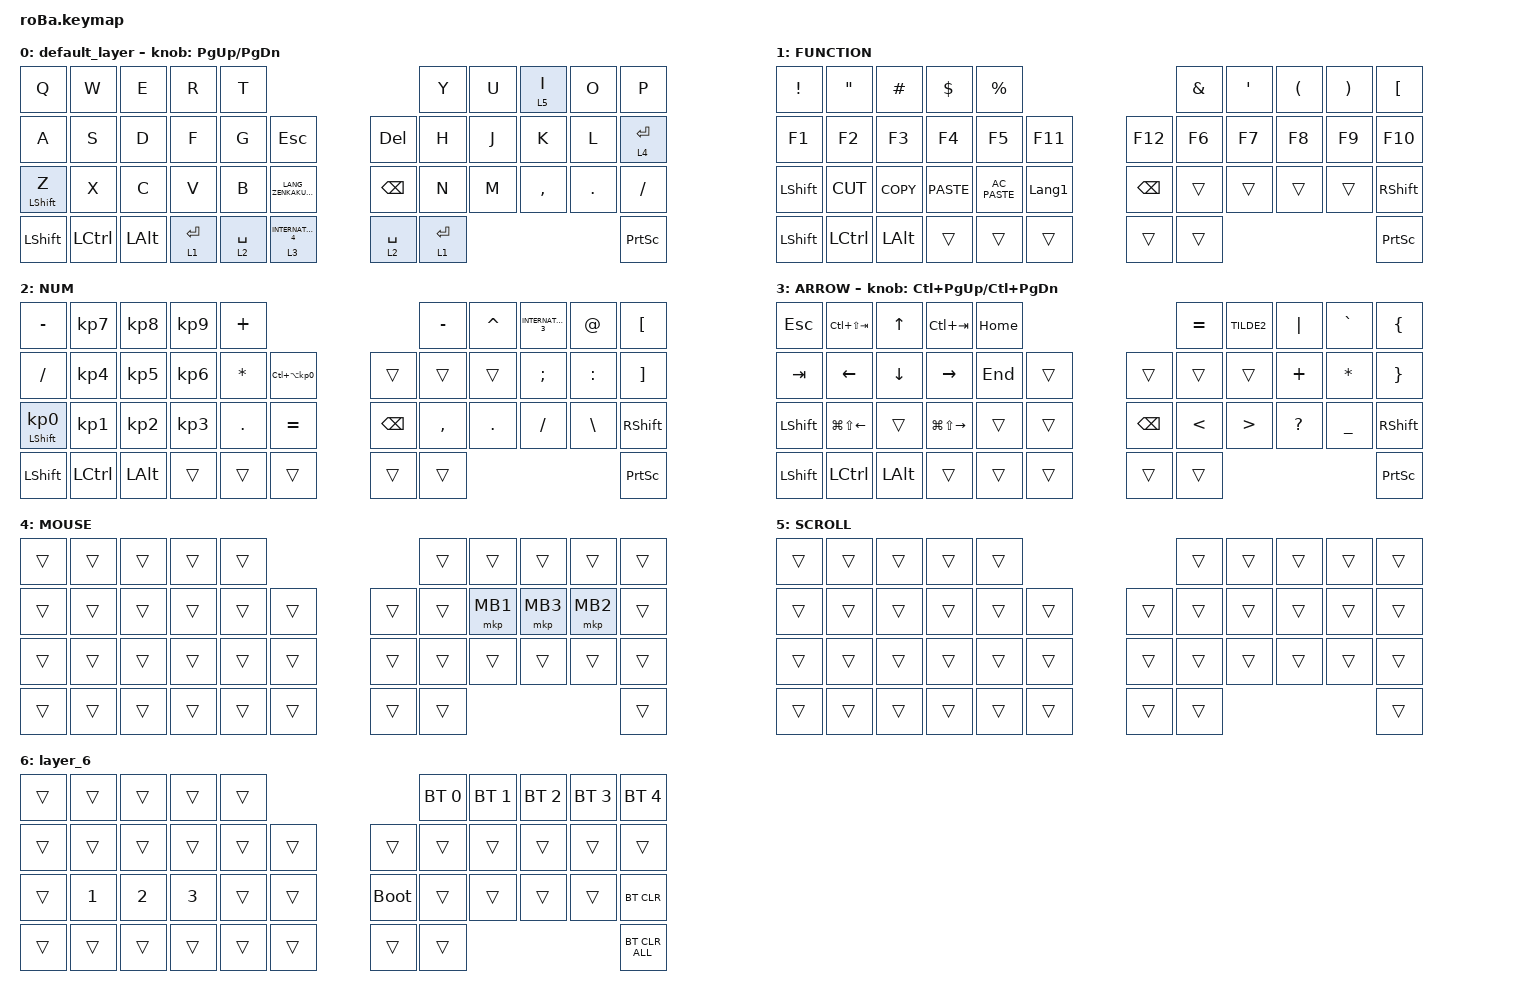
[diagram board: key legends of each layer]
#include <behaviors.dtsi>
#include <dt-bindings/zmk/bt.h>
#include <dt-bindings/zmk/keys.h>
#include <dt-bindings/zmk/pointing.h>

#define MOUSE 4
#define SCROLL 5
#define NUM 6

&mt {
    flavor = "balanced";
    quick-tap-ms = <0>;
};

/ {
    combos {
        compatible = "zmk,combos";

        tab {
            bindings = <&kp TAB>;
            key-positions = <11 12>;
        };

        shift_tab {
            bindings = <&kp LS(TAB)>;
            key-positions = <12 13>;
        };

        muhennkann {
            bindings = <&to_layer_0 INT_MUHENKAN>;
            key-positions = <11 10>;
        };

        double_quotation {
            bindings = <&kp DOUBLE_QUOTES>;
            key-positions = <20 21>;
        };

        eq {
            bindings = <&kp EQUAL>;
            key-positions = <24 25>;
        };
    };

    macros {
        to_layer_0: to_layer_0 {
            compatible = "zmk,behavior-macro-one-param";
            #binding-cells = <1>;
            bindings = <&to 0 &macro_param_1to1 &kp MACRO_PLACEHOLDER>;
            label = "TO_LAYER_0";
        };
    };

    behaviors {
        lt_to_layer_0: lt_to_layer_0 {
            compatible = "zmk,behavior-hold-tap";
            label = "LAYER_TAP_TO_0";
            bindings = <&mo>, <&to_layer_0>;

            #binding-cells = <2>;
            tapping-term-ms = <200>;
        };
    };

    keymap {
        compatible = "zmk,keymap";

        default_layer {
            bindings = <
&kp Q             &kp W      &kp E         &kp R                   &kp T                                                                                 &kp Y                   &kp U  &lt 5 I    &kp O    &kp P
&kp A             &kp S      &kp D         &kp F                   &kp G                   &kp ESCAPE                            &kp DELETE              &kp H                   &kp J  &kp K      &kp L    &lt_to_layer_0 4 ENTER
&mt LEFT_SHIFT Z  &kp X      &kp C         &kp V                   &kp B                   &kp LANG_ZENKAKUHANKAKU               &kp BACKSPACE           &kp N                   &kp M  &kp COMMA  &kp DOT  &kp SLASH
&kp LEFT_SHIFT    &kp LCTRL  &kp LEFT_ALT  &lt_to_layer_0 1 ENTER  &lt_to_layer_0 2 SPACE  &lt_to_layer_0 3 INTERNATIONAL_4      &lt_to_layer_0 2 SPACE  &lt_to_layer_0 1 ENTER                             &kp PRINTSCREEN
            >;

            sensor-bindings = <&inc_dec_kp PG_UP PAGE_DOWN>;
        };

        FUNCTION {
            bindings = <
&kp EXCLAMATION  &kp DOUBLE_QUOTES  &kp POUND   &kp DOLLAR   &kp PERCENT                                        &kp AMPERSAND  &kp SINGLE_QUOTE  &kp LEFT_PARENTHESIS  &kp RIGHT_PARENTHESIS  &kp LEFT_BRACKET
&kp F1           &kp F2             &kp F3      &kp F4       &kp F5          &kp F11             &kp F12        &kp F6         &kp F7            &kp F8                &kp F9                 &kp F10
&kp LEFT_SHIFT   &kp K_CUT          &kp K_COPY  &kp K_PASTE  &kp C_AC_PASTE  &kp LANGUAGE_1      &kp BACKSPACE  &trans         &trans            &trans                &trans                 &kp RIGHT_SHIFT
&kp LEFT_SHIFT   &kp LCTRL          &kp LALT    &trans       &trans          &trans              &trans         &trans                                                                        &kp PRINTSCREEN
            >;
        };

        NUM {
            bindings = <
&kp MINUS                   &kp KP_NUMBER_7  &kp KP_NUMBER_8  &kp KP_NUMBER_9  &kp PLUS                                                  &kp MINUS  &kp CARET   &kp INTERNATIONAL_3  &kp AT_SIGN    &kp LEFT_BRACKET
&kp SLASH                   &kp KP_NUMBER_4  &kp KP_NUMBER_5  &kp KP_NUMBER_6  &kp ASTERISK  &kp LC(LA(KP_NUMBER_0))      &trans         &trans     &trans      &kp SEMICOLON        &kp COLON      &kp RIGHT_BRACKET
&mt LEFT_SHIFT KP_NUMBER_0  &kp KP_NUMBER_1  &kp KP_NUMBER_2  &kp KP_NUMBER_3  &kp PERIOD    &kp EQUAL                    &kp BACKSPACE  &kp COMMA  &kp PERIOD  &kp SLASH            &kp BACKSLASH  &kp RIGHT_SHIFT
&kp LEFT_SHIFT              &kp LCTRL        &kp LEFT_ALT     &trans           &trans        &trans                       &trans         &trans                                                     &kp PRINTSCREEN
            >;
        };

        ARROW {
            bindings = <
&kp ESCAPE      &kp LC(LS(TAB))         &kp UP_ARROW    &kp LC(TAB)              &kp HOME                             &kp EQUAL      &kp TILDE2        &kp PIPE      &kp GRAVE       &kp LEFT_BRACE
&kp TAB         &kp LEFT_ARROW          &kp DOWN_ARROW  &kp RIGHT_ARROW          &kp END   &trans      &trans         &trans         &trans            &kp PLUS      &kp STAR        &kp RIGHT_BRACE
&kp LEFT_SHIFT  &kp LG(LS(LEFT_ARROW))  &trans          &kp LG(LS(RIGHT_ARROW))  &trans    &trans      &kp BACKSPACE  &kp LESS_THAN  &kp GREATER_THAN  &kp QUESTION  &kp UNDERSCORE  &kp RIGHT_SHIFT
&kp LEFT_SHIFT  &kp LCTRL               &kp LALT        &trans                   &trans    &trans      &trans         &trans                                                         &kp PRINTSCREEN
            >;

            sensor-bindings = <&inc_dec_kp LC(PAGE_UP) LC(PAGE_DOWN)>;
        };

        MOUSE {
            bindings = <
&trans  &trans  &trans  &trans  &trans                      &trans  &trans    &trans    &trans    &trans
&trans  &trans  &trans  &trans  &trans  &trans      &trans  &trans  &mkp MB1  &mkp MB3  &mkp MB2  &trans
&trans  &trans  &trans  &trans  &trans  &trans      &trans  &trans  &trans    &trans    &trans    &trans
&trans  &trans  &trans  &trans  &trans  &trans      &trans  &trans                                &trans
            >;
        };

        SCROLL {
            bindings = <
&trans  &trans  &trans  &trans  &trans                      &trans  &trans  &trans  &trans  &trans
&trans  &trans  &trans  &trans  &trans  &trans      &trans  &trans  &trans  &trans  &trans  &trans
&trans  &trans  &trans  &trans  &trans  &trans      &trans  &trans  &trans  &trans  &trans  &trans
&trans  &trans  &trans  &trans  &trans  &trans      &trans  &trans                          &trans
            >;
        };

        layer_6 {
            bindings = <
&trans  &trans        &trans        &trans        &trans                           &bt BT_SEL 0  &bt BT_SEL 1  &bt BT_SEL 2  &bt BT_SEL 3  &bt BT_SEL 4
&trans  &trans        &trans        &trans        &trans  &trans      &trans       &trans        &trans        &trans        &trans        &trans
&trans  &kp NUMBER_1  &kp NUMBER_2  &kp NUMBER_3  &trans  &trans      &bootloader  &trans        &trans        &trans        &trans        &bt BT_CLR
&trans  &trans        &trans        &trans        &trans  &trans      &trans       &trans                                                  &bt BT_CLR_ALL
            >;
        };
    };
};
